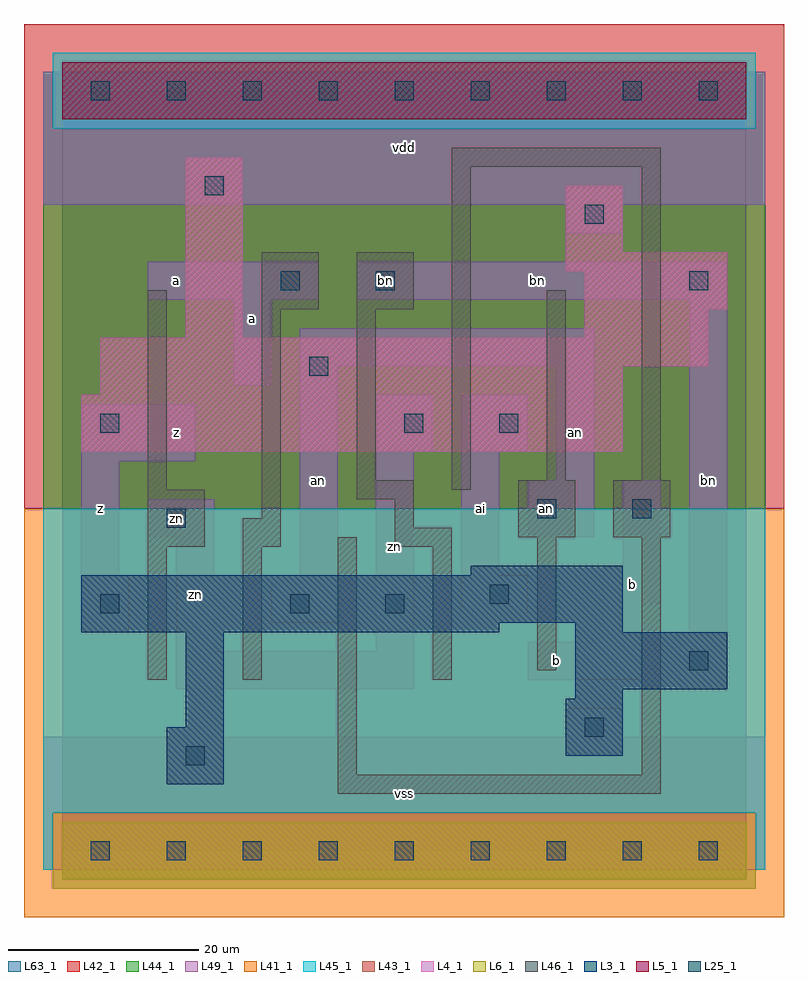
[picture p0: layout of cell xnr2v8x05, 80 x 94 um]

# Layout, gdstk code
import gdstk
lib = gdstk.Library(unit=1e-6, precision=1e-09)
def R(c, l, rs):  # rectangles x0, y0, x1, y1
    for r in rs: c.add(gdstk.rectangle(r[:2], r[2:], *l))
def A(c, l, x, y, w, h, nx, ny, dx, dy):  # array of equal rectangles
    R(c, l, [(x+i*dx, y+j*dy, x+i*dx+w, y+j*dy+h) for i in range(nx) for j in range(ny)])
L3_1 = (3, 1)
L4_1 = (4, 1)
L5_1 = (5, 1)
L6_1 = (6, 1)
L25_1 = (25, 1)
L41_1 = (41, 1)
L42_1 = (42, 1)
L43_1 = (43, 1)
L44_1 = (44, 1)
L45_1 = (45, 1)
L46_1 = (46, 1)
L49_1 = (49, 1)
L63_1 = (63, 1)

xnr2v8x05 = lib.new_cell('xnr2v8x05')
R(xnr2v8x05, L3_1, [(11,7,17,13), (53,10,59,16), (13,13,17,23), (54,16,59,17), (54,17,70,23), (2,23,46,24), (54,23,59,24), (2,24,59,29), (43,29,59,30)])
R(xnr2v8x05, L4_1, [(2,42,59,48), (4,48,59,51), (4,51,68,54), (13,54,19,73), (55,54,68,57), (55,57,70,61), (53,61,70,63), (53,63,59,70)])
R(xnr2v8x05, L5_1, [(0,77,72,83)])
R(xnr2v8x05, L6_1, [(0,-3,72,3), (0,-3,72,3)])
A(xnr2v8x05, L25_1, 3, -1, 2, 2, 9, 2, 8, 80)
R(xnr2v8x05, L25_1, [(13,9,15,11), (55,12,57,14), (66,19,68,21), (4,25,6,27), (24,25,26,27), (34,25,36,27), (45,26,47,28), (11,34,13,36), (50,35,52,37), (60,35,62,37), (4,44,6,46), (36,44,38,46), (46,44,48,46), (26,50,28,52), (23,59,25,61), (33,59,35,61), (66,59,68,61), (55,66,57,68), (15,69,17,71)])
R(xnr2v8x05, L41_1, [(-4,-7,76,36)])
R(xnr2v8x05, L42_1, [(-4,36,76,87)])
R(xnr2v8x05, L43_1, [(0,-3,72,3), (11,7,17,13), (53,10,59,16), (13,13,17,23), (54,16,59,17), (54,17,70,23), (2,23,46,24), (54,23,59,24), (2,24,59,29), (43,29,59,30), (2,42,59,48), (4,48,59,51), (4,51,68,54), (13,54,19,73), (55,54,68,57), (55,57,70,61), (53,61,70,63), (53,63,59,70), (0,77,72,83)])
R(xnr2v8x05, L44_1, [(-1,-4,73,4), (-2,36,74,76), (-2,76,-1,82), (73,76,74,82)])
R(xnr2v8x05, L45_1, [(-2,-2,-1,4), (73,-2,74,4), (-2,4,74,36), (-1,76,73,84)])
R(xnr2v8x05, L46_1, [(29,6,63,8), (29,8,31,33), (61,8,63,33), (9,18,11,32), (19,18,21,32), (39,18,41,32), (50,19,52,33), (9,32,15,38), (19,32,23,35), (35,32,41,34), (48,33,54,39), (58,33,64,39), (35,34,37,37), (21,35,23,57), (31,37,37,39), (9,38,11,59), (41,38,43,72), (31,39,33,57), (51,39,53,59), (61,39,63,72), (21,57,27,63), (31,57,37,63), (41,72,63,74)])
R(xnr2v8x05, L49_1, [(-2,-2,74,12), (53,12,59,15), (12,17,37,21), (65,17,70,23), (49,18,61,22), (12,21,16,33), (33,21,37,42), (57,22,61,26), (2,23,7,29), (66,23,70,58), (22,24,29,28), (42,25,49,29), (57,26,63,30), (25,28,29,51), (2,29,6,41), (42,29,46,42), (59,30,63,39), (9,33,16,37), (49,33,56,39), (52,39,56,51), (2,41,14,47), (33,42,39,48), (42,42,49,48), (18,49,22,58), (25,51,56,55), (9,58,27,62), (31,58,70,62), (53,65,59,68), (-2,68,74,82)])
R(xnr2v8x05, L63_1, [(0,0,72,80)])
xnr2v8x05.add(gdstk.Label('zn', (12,35), layer=49, texttype=1))
xnr2v8x05.add(gdstk.Label('bn', (34,60), layer=49, texttype=1))
xnr2v8x05.add(gdstk.Label('an', (51,36), layer=49, texttype=1))
xnr2v8x05.add(gdstk.Label('z', (4,36), layer=49, texttype=1))
xnr2v8x05.add(gdstk.Label('zn', (14,27), layer=49, texttype=1))
xnr2v8x05.add(gdstk.Label('z', (12,44), layer=49, texttype=1))
xnr2v8x05.add(gdstk.Label('a', (12,60), layer=49, texttype=1))
xnr2v8x05.add(gdstk.Label('a', (20,56), layer=49, texttype=1))
xnr2v8x05.add(gdstk.Label('vss', (36,6), layer=49, texttype=1))
xnr2v8x05.add(gdstk.Label('an', (27,39), layer=49, texttype=1))
xnr2v8x05.add(gdstk.Label('zn', (35,32), layer=49, texttype=1))
xnr2v8x05.add(gdstk.Label('vdd', (36,74), layer=49, texttype=1))
xnr2v8x05.add(gdstk.Label('b', (52,20), layer=49, texttype=1))
xnr2v8x05.add(gdstk.Label('ai', (44,36), layer=49, texttype=1))
xnr2v8x05.add(gdstk.Label('an', (54,44), layer=49, texttype=1))
xnr2v8x05.add(gdstk.Label('b', (60,28), layer=49, texttype=1))
xnr2v8x05.add(gdstk.Label('bn', (68,39), layer=49, texttype=1))
xnr2v8x05.add(gdstk.Label('bn', (50,60), layer=49, texttype=1))

lib.write_gds('xnr2v8x05.gds')
